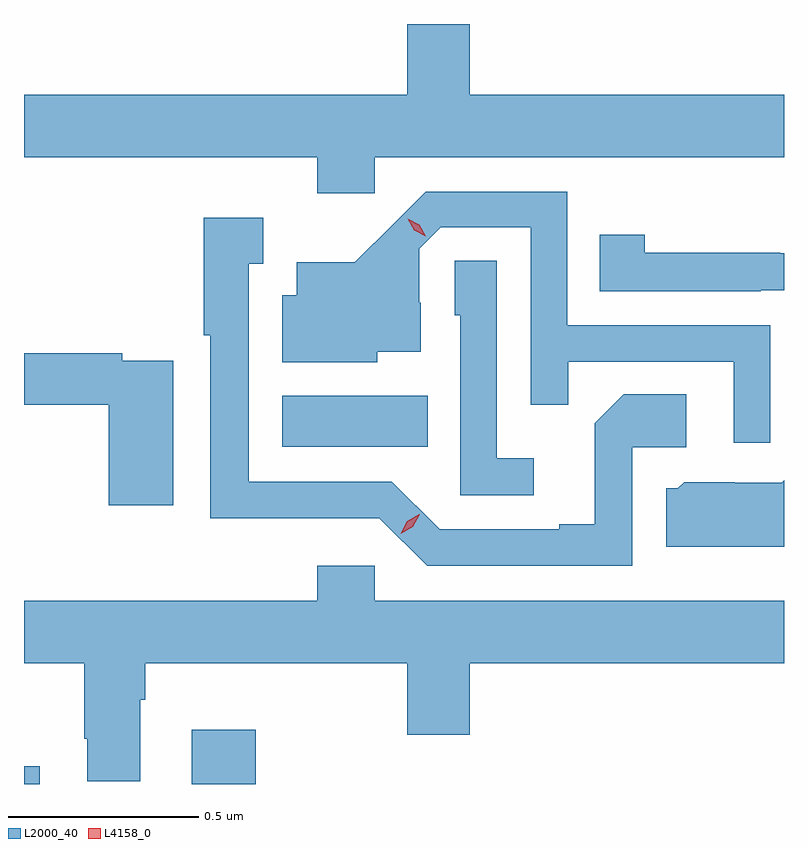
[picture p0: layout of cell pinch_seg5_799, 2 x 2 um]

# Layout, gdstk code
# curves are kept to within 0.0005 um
import gdstk
lib = gdstk.Library(unit=1e-6, precision=1e-09)
def R(c, l, rs):  # rectangles x0, y0, x1, y1
    for r in rs: c.add(gdstk.rectangle(r[:2], r[2:], *l))
def P(c, l, *ps):  # polygons
    for p in ps: c.add(gdstk.Polygon(p, *l))
L2000_40 = (2000, 40)
L4158_0 = (4158, 0)

pinch_seg5_799 = lib.new_cell('pinch_seg5_799')
R(pinch_seg5_799, L2000_40, [(763.399,907.058,763.441,907.105), (763.841,907.058,764.009,907.201), (764.078,907.946,764.462,908.08)])
P(pinch_seg5_799, L2000_40, [(763.399,908.708),(764.171,908.708),(764.171,908.613),(764.322,908.613),(764.322,908.708),(765.399,908.708),(765.399,908.872),(764.572,908.872),(764.572,909.058),(764.408,909.058),(764.408,908.872),(763.399,908.872)],
  [(765.363,908.265),(764.829,908.265),(764.829,908.616),(764.456,908.616),(764.269,908.431),(764.117,908.431),(764.117,908.344),(764.078,908.344),(764.078,908.168),(764.328,908.168),(764.328,908.195),(764.443,908.195),(764.443,908.324),(764.439,908.324),(764.439,908.466),(764.496,908.523),(764.733,908.523),(764.733,908.056),(764.831,908.056),(764.831,908.169),(765.267,908.169),(765.267,907.956),(765.363,907.956)],
  [(765,907.944),(765.142,907.944),(765.142,908.084),(764.977,908.084),(764.901,908.008),(764.901,907.741),(764.807,907.741),(764.807,907.728),(764.493,907.728),(764.367,907.854),(763.99,907.854),(763.99,908.427),(764.029,908.427),(764.029,908.548),(763.872,908.548),(763.872,908.239),(763.889,908.239),(763.889,907.757),(764.112,907.757),(764.112,907.758),(764.334,907.758),(764.46,907.632),(765,907.632)],
  [(765.338,908.358),(765.399,908.358),(765.399,908.455),(765.389,908.455),(765.389,908.456),(765.033,908.456),(765.033,908.503),(764.914,908.503),(764.914,908.355),(765.338,908.355)],
  [(764.74,907.915),(764.643,907.915),(764.643,908.435),(764.532,908.435),(764.532,908.292),(764.547,908.292),(764.547,907.818),(764.74,907.818)],
  [(763.792,908.172),(763.658,908.172),(763.658,908.192),(763.399,908.192),(763.399,908.056),(763.622,908.056),(763.622,907.791),(763.792,907.791)],
  [(765.399,907.857),(765.393,907.851),(765.27,907.851),(765.27,907.852),(765.136,907.852),(765.12,907.836),(765.089,907.836),(765.089,907.682),(765.399,907.682)],
  [(763.705,907.28),(763.718,907.28),(763.718,907.376),(764.408,907.376),(764.408,907.188),(764.572,907.188),(764.572,907.376),(765.399,907.376),(765.399,907.54),(764.322,907.54),(764.322,907.633),(764.171,907.633),(764.171,907.54),(763.399,907.54),(763.399,907.376),(763.558,907.376),(763.558,907.177),(763.565,907.177),(763.565,907.065),(763.705,907.065)])
P(pinch_seg5_799, L4158_0, [(764.456,908.5),(764.426,908.515),(764.409,908.545),(764.409,908.545),(764.409,908.545),(764.439,908.53),(764.456,908.5),(764.456,908.5)],
  [(764.39,907.717),(764.39,907.717),(764.408,907.749),(764.439,907.768),(764.44,907.768),(764.44,907.768),(764.422,907.735),(764.39,907.717)])

lib.write_gds('pinch_seg5_799.gds')
